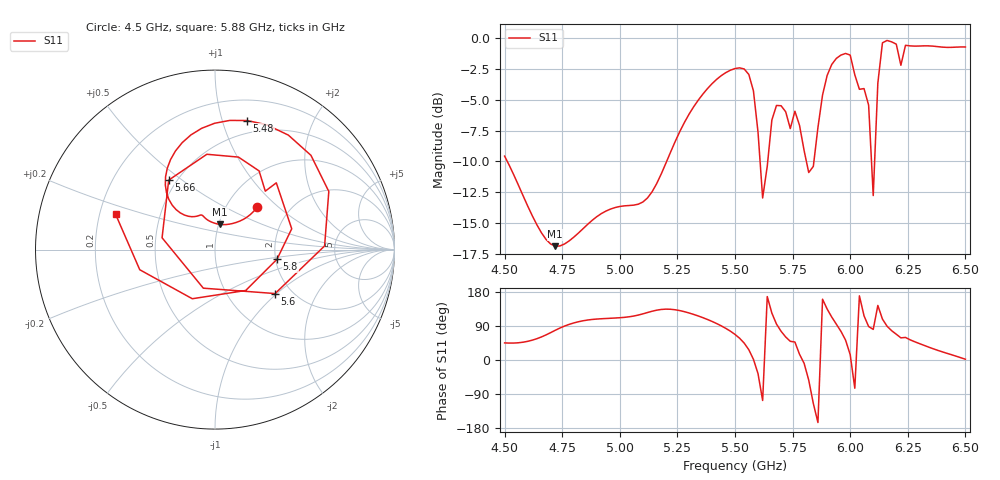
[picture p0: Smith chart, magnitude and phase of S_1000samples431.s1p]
! TOUCHSTONE file generated by CST MICROWAVE STUDIO
! Date and time: Fri Oct 28 03:59:10 2022
! Project name: L.cst
! Parameters = {Di=1.27; Epsilon_r=1.56; InnerDiameter=1.27; Length=2; Lf=10; Lg=60; OuterConductorThickness=0.2921; OuterDiameter=3.6; Wf=3; Wp=41.2; de=1.5; df=6.8; g=0.8; gx=1.62947; gy=1.39935; h=2.34; hf=1.524; px=13.7766; py=14.2037; w=9.7; wx=12.1472; wy=12.8043}
! Header version: 2018
! Port assignment regex: !\s*Touchstone port\s*([0-9]+)\s*=\s*(CST MWS port|CST DS port)\s*([0-9]+|Zmin|Zmax)\s*\(\"(.*)\"\)(\s*mode\s*([0-9]+))?.*
! Touchstone port assignment:
! Touchstone port 1 = CST MWS port 1 ("")
# GHz S DB R 50
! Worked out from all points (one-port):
!   101 points, 4.5 GHz to 6.5 GHz, reference 50 ohm
!   lowest |S11| = -16.9 dB at 4.72 GHz (marker M1), VSWR 1.33, Z = 50.8 + j14.6 ohm
!   |S11| at or under -10 dB: 4.511 GHz to 5.203 GHz (692 MHz wide, 14.2 % of centre); 5.609 GHz to 5.642 GHz (33.27 MHz wide, 0.591 % of centre); 5.81 GHz to 5.843 GHz (32.79 MHz wide, 0.563 % of centre) (the widest 3 of 4)
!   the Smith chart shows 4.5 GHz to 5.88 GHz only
!   S11 on the Smith chart (normalised r, x): 4.5 GHz: 1.39, +0.73; 5.48 GHz: 0.38, +1.21; 5.6 GHz: 1.65, -0.97; 5.66 GHz: 0.45, +0.45; 5.8 GHz: 2.04, -0.25; 5.88 GHz: 0.27, +0.16
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4.5  -9.58 45.1
4.72  -16.89 78.4
4.76  -16.71 89.5
5  -13.66 111.6
5.26  -7.60 130.4
5.48  -2.60 76.0
5.5  -2.47 67.5
5.56  -2.95 27.1
5.6  -7.64 -36.2
5.62  -12.97 -106.8
5.66  -6.65 123.7
5.76  -5.93 47.4
5.8  -9.13 -8.8
5.84  -10.41 -114.8
5.88  -4.62 160.5
5.94  -1.64 94.4
5.98  -1.24 52.4
6  -1.38 14.0
6.02  -2.98 -74.5
6.04  -4.15 169.3
6.06  -4.10 116.6
6.1  -12.78 80.7
6.12  -3.64 143.9
6.14  -0.38 108.0
6.16  -0.19 89.1
6.22  -2.20 58.4
6.26  -0.63 53.3
6.5  -0.72 2.0
